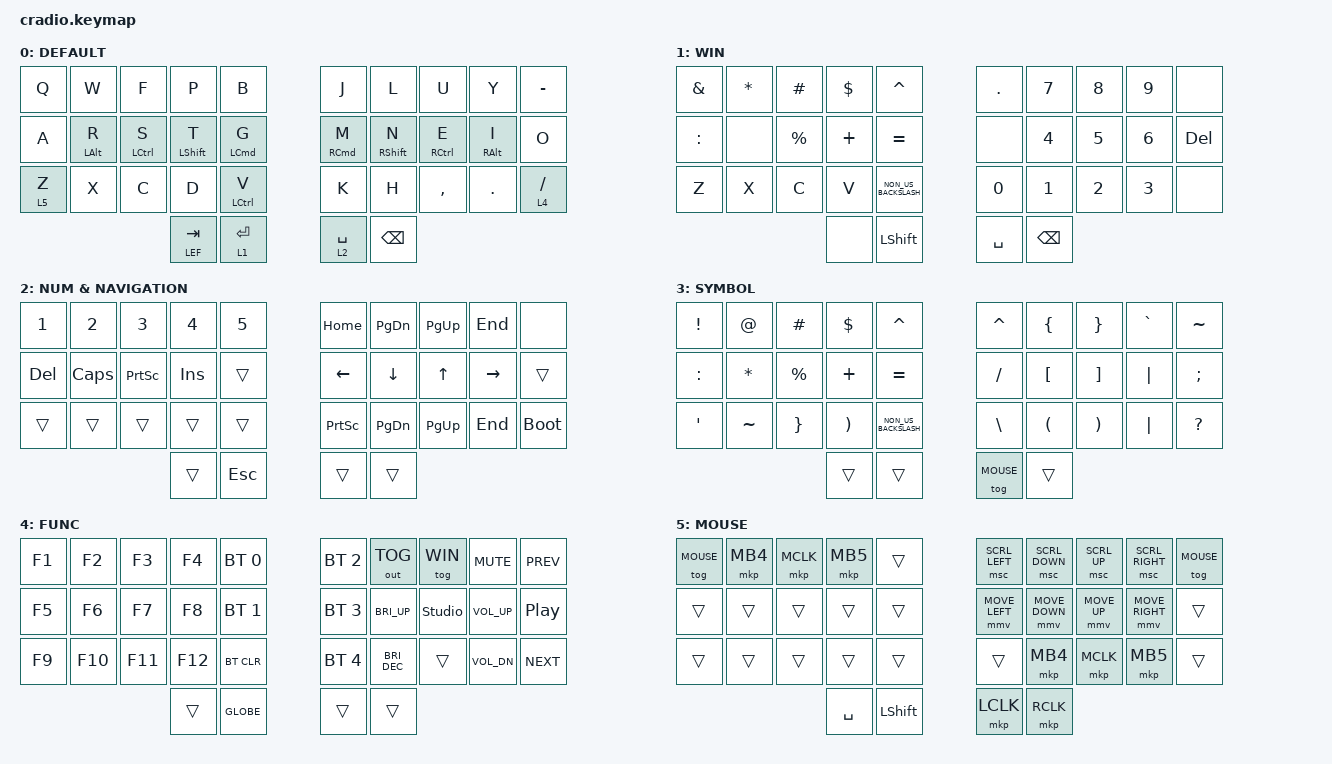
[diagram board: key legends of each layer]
// Copyright (c) 2022 The ZMK Contributors
// SPDX-License-Identifier: MIT

#define ZMK_POINTING_DEFAULT_MOVE_VAL 2500  // 600
#define ZMK_POINTING_DEFAULT_SCRL_VAL 20    // 10

#include <behaviors.dtsi>
#include <dt-bindings/zmk/bt.h>
#include <dt-bindings/zmk/keys.h>
#include <dt-bindings/zmk/outputs.h>
#include <dt-bindings/zmk/pointing.h>

#define MAC 0
#define WIN 1
#define RIG 2
#define LEF 3
#define TRI 4
#define MOUSE 5

/ {
    chosen { zmk,charmap = &charmap_us; };

    behaviors {
        ht: hold_tap {
            label = "hold_tap";
            compatible = "zmk,behavior-hold-tap";
            #binding-cells = <2>;
            flavor = "tap-preferred";
            tapping-term-ms = <180>;
            quick-tap-ms = <150>;
            global-quick-tap;
            bindings = <&kp>, <&kp>;
        };

        new_behavior: new_behavior {
            compatible = "zmk,behavior-tap-dance";
            label = "NEW_BEHAVIOR";
            #binding-cells = <0>;
            bindings = <&none>;
        };

        mmv {
            acceleration-exponent = <1>;      // 1
            time-to-max-speed-ms = <300>;    // 40
            delay-ms = <0>;                   // 0
        };

        msc {
            acceleration-exponent = <0>;      // 0
            time-to-max-speed-ms = <40>;      // 500
            delay-ms = <0>;                   // 10
        };
    };

    conditional_layers {
        compatible = "zmk,conditional-layers";

        tri_layer {
            if-layers = <RIG LEF>;
            then-layer = <TRI>;
        };
    };

    combos {
        compatible = "zmk,combos";

        esc {
            bindings = <&kp ESCAPE>;
            key-positions = <0 1>;
        };

        tab {
            bindings = <&kp TAB>;
            key-positions = <2 1>;
        };

        caps {
            bindings = <&kp CAPSLOCK>;
            key-positions = <3 2 1>;
        };

        cmdcopy {
            bindings = <&kp K_COPY>;
            key-positions = <23 22>;
        };

        cmdpaste {
            bindings = <&kp K_PASTE>;
            key-positions = <23 24>;
        };

        print {
            bindings = <&kp PRINTSCREEN>;
            key-positions = <21 22 23>;
        };
    };

    keymap {
        compatible = "zmk,keymap";

        default_layer {
            display-name = "DEFAULT";
            bindings = <
&kp Q    &kp W           &kp F        &kp P         &kp B                 &kp J        &kp L              &kp U                &kp Y            &kp MINUS
&kp A    &ht LEFT_ALT R  &ht LCTRL S  &ht LSHIFT T  &ht LCMD G            &ht RCMD M   &ht RIGHT_SHIFT N  &ht RIGHT_CONTROL E  &ht RIGHT_ALT I  &kp O
&lt 5 Z  &kp X           &kp C        &kp D         &ht LEFT_CONTROL V    &kp K        &kp H              &kp COMMA            &kp DOT          &lt 4 SLASH
                                      &lt LEF TAB   &lt 1 ENTER           &lt 2 SPACE  &kp BACKSPACE
            >;
        };

        number {
            display-name = "WIN";
            bindings = <
&kp AMPERSAND  &kp ASTERISK  &kp HASH     &kp DOLLAR  &kp CARET               &kp DOT    &kp N7         &kp N8        &kp N9        &none
&kp COLON      &none         &kp PERCENT  &kp PLUS    &kp EQUAL               &none      &kp NUMBER_4   &kp N5        &kp NUMBER_6  &kp DELETE
&kp Z          &kp X         &kp C        &kp V       &kp NON_US_BACKSLASH    &kp N0     &kp NUMBER_1   &kp NUMBER_2  &kp NUMBER_3  &none
                                          &none       &kp LSHIFT              &kp SPACE  &kp BACKSPACE
            >;
        };

        right_layer {
            display-name = "NUM & NAVIGATION";
            bindings = <
&kp N1   &kp N2    &kp N3     &kp N4   &kp N5     &kp HOME         &kp PAGE_DOWN  &kp PG_UP  &kp END    &none
&kp DEL  &kp CAPS  &kp PSCRN  &kp INS  &trans     &kp LEFT         &kp DOWN       &kp UP     &kp RIGHT  &trans
&trans   &trans    &trans     &trans   &trans     &kp PRINTSCREEN  &kp PG_DN      &kp PG_UP  &kp END    &bootloader
                              &trans   &kp ESC    &trans           &trans
            >;
        };

        left_layer {
            display-name = "SYMBOL";
            bindings = <
&kp EXCL   &kp AT_SIGN   &kp HASH     &kp DLLR  &kp CARET               &kp CARET   &kp LEFT_BRACE        &kp RIGHT_BRACE        &kp GRAVE  &kp TILDE
&kp COLON  &kp ASTERISK  &kp PERCENT  &kp PLUS  &kp EQUAL               &kp FSLH    &kp LEFT_BRACKET      &kp RIGHT_BRACKET      &kp PIPE   &kp SEMI
&kp SQT    &kp TILDE     &kp RBRC     &kp RPAR  &kp NON_US_BACKSLASH    &kp BSLH    &kp LEFT_PARENTHESIS  &kp RIGHT_PARENTHESIS  &kp PIPE   &kp QMARK
                                      &trans    &trans                  &tog MOUSE  &trans
            >;
        };

        tri_layer {
            display-name = "FUNC";
            bindings = <
&kp F1  &kp F2   &kp F3   &kp F4   &bt BT_SEL 0    &bt BT_SEL 2  &out OUT_TOG   &tog WIN        &kp C_MUTE    &kp C_PREV
&kp F5  &kp F6   &kp F7   &kp F8   &bt BT_SEL 1    &bt BT_SEL 3  &kp C_BRI_UP   &studio_unlock  &kp C_VOL_UP  &kp C_PP
&kp F9  &kp F10  &kp F11  &kp F12  &bt BT_CLR      &bt BT_SEL 4  &kp C_BRI_DEC  &trans          &kp C_VOL_DN  &kp C_NEXT
                          &trans   &kp GLOBE       &trans        &trans
            >;
        };

        mouse {
            display-name = "MOUSE";
            bindings = <
&tog MOUSE  &mkp MB4  &mkp MCLK  &mkp MB5   &trans        &msc SCRL_LEFT  &msc SCRL_DOWN  &msc SCRL_UP  &msc SCRL_RIGHT  &tog MOUSE
&trans      &trans    &trans     &trans     &trans        &mmv MOVE_LEFT  &mmv MOVE_DOWN  &mmv MOVE_UP  &mmv MOVE_RIGHT  &trans
&trans      &trans    &trans     &trans     &trans        &trans          &mkp MB4        &mkp MCLK     &mkp MB5         &trans
                                 &kp SPACE  &kp LSHIFT    &mkp LCLK       &mkp RCLK
            >;
        };
    };
};
